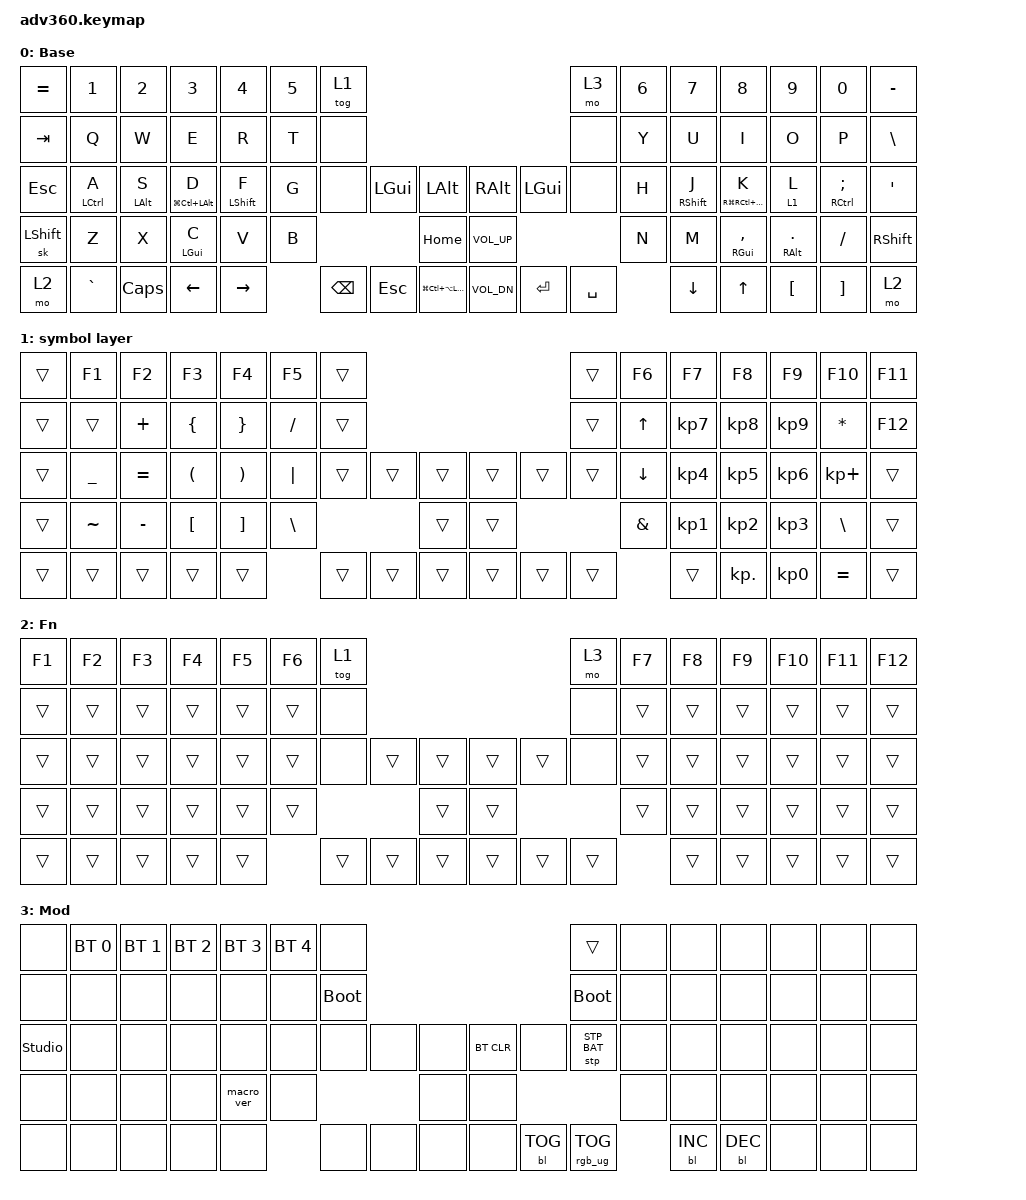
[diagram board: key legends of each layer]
#include <dt-bindings/zmk/stp.h>
#include <behaviors.dtsi>
#include <dt-bindings/zmk/backlight.h>
#include <dt-bindings/zmk/bt.h>
#include <dt-bindings/zmk/keys.h>
#include <dt-bindings/zmk/rgb.h>


#define _BASE 0
#define _POG  1
#define _FN   2 
#define _NUM  3 




/ {
    behaviors {
      #include "macros.dtsi"
      #include "version.dtsi"

        hm: homerow_mods {
            compatible = "zmk,behavior-hold-tap";
            label = "HOMEROW_MODS";
            #binding-cells = <2>;
            tapping-term-ms = <1000>;
            flavor = "tap-preferred";
            bindings = <&kp>, <&kp>;
        };

      hml: home_row_mod_left {
           compatible = "zmk,behavior-hold-tap";
           #binding-cells = <2>;
           flavor = "balanced";
           require-prior-idle-ms = <150>;
           tapping-term-ms = <280>;
           quick-tap-ms = <175>;
           bindings = <&kp>, <&kp>;
           /* all right-hand positions: rows 0–4 cols 7–13 */
           hold-trigger-key-positions = <
               7  8  9  10 11 12 13
               21 22 23 24 25 26 27
               35 36 37 38 39 40 41
               49 50 51 52 53 54 55
               63 64 65 66 67 68 69
           >;
           hold-trigger-on-release;
      };

      hmr: home_row_mod_right {
           compatible = "zmk,behavior-hold-tap";
           #binding-cells = <2>;
           flavor = "balanced";
           require-prior-idle-ms = <150>;
           tapping-term-ms = <280>;
           quick-tap-ms = <175>;
           bindings = <&kp>, <&kp>;
           /* all left-hand positions: rows 0–4 cols 0–6 */
           hold-trigger-key-positions = <
               0  1  2  3  4  5  6
               14 15 16 17 18 19 20
               28 29 30 31 32 33 34
               42 43 44 45 46 47 48
               56 57 58 59 60 61 62
           >;
           hold-trigger-on-release;
       };
   };


   keymap {
        compatible = "zmk,keymap";



/*  Keymap 1: Base Layer
 *
 * ,-----------------------------------------------------+--------.         ,-----------------------------------------------------+--------.
 * |   =    |   1    |   2    |   3    |   4    |   5    | LAYER  |         |   =    |   6    |   7    |   8    |   9    |   0    |   -    |
 * |--------+--------+--------+--------+--------+--------+--------|         |--------+--------+--------+--------+--------+--------+--------|
 * |  Tab   |   Q    |   W    |   E    |   R    |   T    |  NONE  |         |  NONE  |   Y    |   U    |   I    |   O    |   P    |   \    |
 * |--------+--------+--------+--------+--------+--------+--------|         |--------+--------+--------+--------+--------+--------+--------|
 * |  Esc   | A/Ctl  | S/Alt  | D/Gui  |F/Shift |   G    |  NONE  |         |  NONE  |   H    |J/Shift | K/GUI  | L/POG  | ;/CTRL |   '    |
 * |--------+--------+--------+--------+--------+--------+--------'         `--------+--------+--------+--------+--------+--------+--------| 
 * | LShift |   Z    |   X    | C/CCA  |   V    |   B    |                           |   N    |   M    | ,/CCA  | ./RALT |   /    | RShift |
 * |--------+--------+--------+--------+--------+--------'                           `--------+--------+--------+--------+--------+--------|
 * |  Fn    | Grave  |  Caps  |  Left  |  Right |                                             |  DOWN  |   UP   |   [    |   ]    |   Fn   |
 * `-------------------------------------------'                                             `--------+--------+--------+--------+--------|
 *                                              ,-----------------.        ,--------+--------. 
 *                                              |  LGUI  |  LALT  |        |  RALT  |  RGUI  | 
 *                                     ,--------+--------+--------|        |--------+--------+--------.
 *                                     |        |        |  HOME  |        |  PGUP  |        |        |
 *                                     | BSPACE |  ESC   |--------|        |--------| ENTER  | SPACE  |
 *                                     |        |        | HYPER  |        | HYPER  |        |        |
 *                                     `--------+--------+--------'        `--------+--------+--------'
 */

        default_layer {
            display-name = "Base";
            bindings = <
&kp EQUAL  &kp N1        &kp N2       &kp N3                &kp N4        &kp N5                &tog 1                                                                          &mo 3      &kp N6  &kp N7        &kp N8                   &kp N9         &kp N0           &kp MINUS
&kp TAB    &kp Q         &kp W        &kp E                 &kp R         &kp T                 &none                                                                           &none      &kp Y   &kp U         &kp I                    &kp O          &kp P            &kp BSLH
&kp ESC    &hml LCTRL A  &hml LALT S  &hml LG(LC(LALT)) D   &hml LSHFT F  &kp G                 &none     &kp LGUI    &kp LALT               &kp RALT               &kp LGUI    &none      &kp H   &hmr RSHFT J  &hmr RG(RC(RALT)) K      &lt 1 L        &hmr RCTRL SEMI  &kp SQT
&sk LSHFT  &kp Z         &kp X        &hml LGUI C           &kp V         &kp B                                       &kp HOME               &kp C_VOL_UP                                  &kp N   &kp M         &hmr RGUI COMMA          &hmr RALT DOT  &kp FSLH         &kp RSHFT
&mo 2      &kp GRAVE     &kp CAPS     &kp LEFT              &kp RIGHT                           &kp BSPC  &kp ESCAPE  &kp LG(LC(LA(LSHFT)))  &kp C_VOL_DN           &kp ENTER   &kp SPACE          &kp DOWN      &kp UP                   &kp LBKT       &kp RBKT         &mo 2
            >;
        };



/*  Keymap X: X Layer 
 *
 * ,-----------------------------------------------------+--------.         ,-----------------------------------------------------+--------.
 * |        |   F1   |   F2   |   F3   |   F4   |   F5   |        |         |        |   F6   |   F7   |   F8   |   F9   |  F10   |  F11   |
 * |--------+--------+--------+--------+--------+--------+--------|         |--------+--------+--------+--------+--------+--------+--------|
 * |        |        |   +    |   {    |   }    |   /    |        |         |        |   Up   |   7    |   8    |   9    |   *    |  F12   |
 * |--------+--------+--------+--------+--------+--------+--------|         |--------+--------+--------+--------+--------+--------+--------|
 * |        |   _    |   =    |   (    |   )    |   |    |        |         |        |  Down  |   4    |   5    |   6    |   +    |        |
 * |--------+--------+--------+--------+--------+--------+--------'         `--------+--------+--------+--------+--------+--------+--------| 
 * |        |   ~    |   -    |   [    |   ]    |   \    |                           |   &    |   1    |   2    |   3    |   \    |        |
 * |--------+--------+--------+--------+--------+--------'                           `--------+--------+--------+--------+--------+--------|
 * |        |        |        |        |        |                                             |        |   .    |   0    |   =    |        |
 * `--------------------------------------------'                                             `--------+--------+--------+--------+--------|
 *                                              ,-----------------.        ,--------+--------. 
 *                                              |        |        |        |        |        | 
 *                                     ,--------+--------+--------|        |--------+--------+--------.
 *                                     |        |        |        |        |        |        |        |
 *                                     |        |        |--------|        |--------|        |        |
 *                                     |        |        |        |        |        |        |        |
 *                                     `--------+--------+--------'        `--------+--------+--------'
 */
        keypad {
            display-name = "symbol layer";
            bindings = <
&trans  &kp F1     &kp F2    &kp F3    &kp F4     &kp F5       &trans                                     &trans   &kp F6    &kp F7      &kp F8      &kp F9      &kp F10      &kp F11
&trans  &trans     &kp PLUS  &kp LBRC  &kp RBRC   &kp FSLH     &trans                                     &trans   &kp UP    &kp KP_N7   &kp KP_N8   &kp KP_N9   &kp STAR     &kp F12
&trans  &kp UNDER  &kp EQUAL &kp LPAR  &kp RPAR   &kp PIPE     &trans  &trans  &trans     &trans  &trans  &trans   &kp DOWN  &kp KP_N4   &kp KP_N5   &kp KP_N6   &kp KP_PLUS  &trans
&trans  &kp TILDE  &kp MINUS &kp LBKT  &kp RBKT   &kp BSLH                     &trans     &trans                   &kp AMPS  &kp KP_N1   &kp KP_N2   &kp KP_N3   &kp BSLH     &trans
&trans  &trans     &trans    &trans    &trans                  &trans  &trans  &trans     &trans  &trans  &trans             &trans      &kp KP_DOT  &kp KP_N0   &kp EQUAL    &trans        
            >;
        };



/*  Keymap X: X Layer 
 *
 * ,-----------------------------------------------------+--------.         ,-----------------------------------------------------+--------.
 * |        |        |        |        |        |        |        |         |        |        |        |        |        |        |   -    |
 * |--------+--------+--------+--------+--------+--------+--------|         |--------+--------+--------+--------+--------+--------+--------|
 * |        |        |        |        |        |        |        |         |        |        |        |        |        |        |        |
 * |--------+--------+--------+--------+--------+--------+--------|         |--------+--------+--------+--------+--------+--------+--------|
 * |        |        |        |        |        |        |        |         |        |        |        |        |        |        |        |
 * |--------+--------+--------+--------+--------+--------+--------'         `--------+--------+--------+--------+--------+--------+--------| 
 * |        |        |        |        |        |        |                           |        |        |        |        |        |        |
 * |--------+--------+--------+--------+--------+--------'                           `--------+--------+--------+--------+--------+--------|
 * |        |        |        |        |        |                                             |        |        |        |        |        |
 * `--------------------------------------------'                                             `--------+--------+--------+--------+--------|
 *                                              ,-----------------.        ,--------+--------. 
 *                                              |        |        |        |        |        | 
 *                                     ,--------+--------+--------|        |--------+--------+--------.
 *                                     |        |        |        |        |        |        |        |
 *                                     |        |        |--------|        |--------|        |        |
 *                                     |        |        |        |        |        |        |        |
 *                                     `--------+--------+--------'        `--------+--------+--------'
 */
        fn {
            display-name = "Fn";
            bindings = <
&kp F1  &kp F2  &kp F3  &kp F4  &kp F5  &kp F6  &tog 1                                      &mo 3   &kp F7  &kp F8  &kp F9  &kp F10  &kp F11  &kp F12
&trans  &trans  &trans  &trans  &trans  &trans  &none                                       &none   &trans  &trans  &trans  &trans   &trans   &trans
&trans  &trans  &trans  &trans  &trans  &trans  &none   &trans  &trans      &trans  &trans  &none   &trans  &trans  &trans  &trans   &trans   &trans
&trans  &trans  &trans  &trans  &trans  &trans                  &trans      &trans                  &trans  &trans  &trans  &trans   &trans   &trans
&trans  &trans  &trans  &trans  &trans          &trans  &trans  &trans      &trans  &trans  &trans          &trans  &trans  &trans   &trans   &trans
            >;
        };




/*  Keymap X: X Layer 
 *
 * ,-----------------------------------------------------+--------.         ,-----------------------------------------------------+--------.
 * |        |        |        |        |        |        |        |         |        |        |        |        |        |        |   -    |
 * |--------+--------+--------+--------+--------+--------+--------|         |--------+--------+--------+--------+--------+--------+--------|
 * |        |        |        |        |        |        |        |         |        |        |        |        |        |        |        |
 * |--------+--------+--------+--------+--------+--------+--------|         |--------+--------+--------+--------+--------+--------+--------|
 * |        |        |        |        |        |        |        |         |        |        |        |        |        |        |        |
 * |--------+--------+--------+--------+--------+--------+--------'         `--------+--------+--------+--------+--------+--------+--------| 
 * |        |        |        |        |        |        |                           |        |        |        |        |        |        |
 * |--------+--------+--------+--------+--------+--------'                           `--------+--------+--------+--------+--------+--------|
 * |        |        |        |        |        |                                             |        |        |        |        |        |
 * `--------------------------------------------'                                             `--------+--------+--------+--------+--------|
 *                                              ,-----------------.        ,--------+--------. 
 *                                              |        |        |        |        |        | 
 *                                     ,--------+--------+--------|        |--------+--------+--------.
 *                                     |        |        |        |        |        |        |        |
 *                                     |        |        |--------|        |--------|        |        |
 *                                     |        |        |        |        |        |        |        |
 *                                     `--------+--------+--------'        `--------+--------+--------'
 */
 
        mod {
            display-name = "Mod";
            bindings = <
&none           &bt BT_SEL 0  &bt BT_SEL 1  &bt BT_SEL 2  &bt BT_SEL 3  &bt BT_SEL 4  &none                                                  &trans           &none  &none       &none       &none  &none  &none
&none           &none         &none         &none         &none         &none         &bootloader                                            &bootloader      &none  &none       &none       &none  &none  &none
&studio_unlock  &none         &none         &none         &none         &none         &none        &none  &none      &bt BT_CLR  &none       &stp STP_BAT     &none  &none       &none       &none  &none  &none
&none           &none         &none         &none         &macro_ver    &none                             &none      &none                                    &none  &none       &none       &none  &none  &none
&none           &none         &none         &none         &none                       &none        &none  &none      &none       &bl BL_TOG  &rgb_ug RGB_TOG         &bl BL_INC  &bl BL_DEC  &none  &none  &none
            >;
        };

        extra1 {
            display-name = "Red";
            status = "reserved";
        };

        extra2 {
            display-name = "Purple";
            status = "reserved";
        };

        extra3 {
            display-name = "Cyan";
            status = "reserved";
        };

        extra4 {
            display-name = "Yellow";
            status = "reserved";
        };
    };
};


/*  Keymap X: X Layer 
 *
 * ,-----------------------------------------------------+--------.         ,-----------------------------------------------------+--------.
 * |        |        |        |        |        |        |        |         |        |        |        |        |        |        |   -    |
 * |--------+--------+--------+--------+--------+--------+--------|         |--------+--------+--------+--------+--------+--------+--------|
 * |        |        |        |        |        |        |        |         |        |        |        |        |        |        |        |
 * |--------+--------+--------+--------+--------+--------+--------|         |--------+--------+--------+--------+--------+--------+--------|
 * |        |        |        |        |        |        |        |         |        |        |        |        |        |        |        |
 * |--------+--------+--------+--------+--------+--------+--------'         `--------+--------+--------+--------+--------+--------+--------| 
 * |        |        |        |        |        |        |                           |        |        |        |        |        |        |
 * |--------+--------+--------+--------+--------+--------'                           `--------+--------+--------+--------+--------+--------|
 * |        |        |        |        |        |                                             |        |        |        |        |        |
 * `--------------------------------------------'                                             `--------+--------+--------+--------+--------|
 *                                              ,-----------------.        ,--------+--------. 
 *                                              |        |        |        |        |        | 
 *                                     ,--------+--------+--------|        |--------+--------+--------.
 *                                     |        |        |        |        |        |        |        |
 *                                     |        |        |--------|        |--------|        |        |
 *                                     |        |        |        |        |        |        |        |
 *                                     `--------+--------+--------'        `--------+--------+--------'
 */


